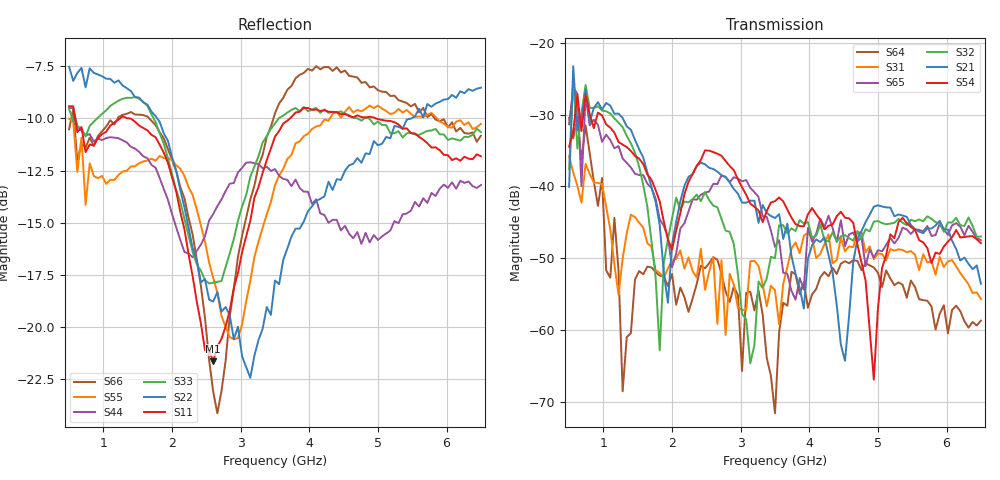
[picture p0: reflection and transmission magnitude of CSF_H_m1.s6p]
!Keysight Technologies,M9804A,MY58100912,A.14.10.03
!Date: Thursday, April 27, 2023 10:28:33
!Correction: S11(C  6-Port  )
!S12(C  6-Port  )
!S13(C  6-Port  )
!S14(C  6-Port  )
!S15(C  6-Port  )
!S16(C  6-Port  )
!S21(C  6-Port  )
!S22(C  6-Port  )
!S23(C  6-Port  )
!S24(C  6-Port  )
!S25(C  6-Port  )
!S26(C  6-Port  )
!S31(C  6-Port  )
!S32(C  6-Port  )
!S33(C  6-Port  )
!S34(C  6-Port  )
!S35(C  6-Port  )
!S36(C  6-Port  )
!S41(C  6-Port  )
!S42(C  6-Port  )
!S43(C  6-Port  )
!S44(C  6-Port  )
!S45(C  6-Port  )
!S46(C  6-Port  )
!S51(C  6-Port  )
!S52(C  6-Port  )
!S53(C  6-Port  )
!S54(C  6-Port  )
!S55(C  6-Port  )
!S56(C  6-Port  )
!S61(C  6-Port  )
!S62(C  6-Port  )
!S63(C  6-Port  )
!S64(C  6-Port  )
!S65(C  6-Port  )
!S66(C  6-Port  )
!S6P File: Measurement: :
# Hz S  RI  R 50
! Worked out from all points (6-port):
!   101 points, 500 MHz to 6.5 GHz, reference 50 ohm
!   strongest paths, dB at 500 MHz, 2 GHz, 3.5 GHz, 5 GHz, 6.5 GHz:
!     S54: -34.5, -48.8, -42.1, -57.0, -47.9
!     S21: -40.1, -48.1, -44.4, -42.6, -53.6
!     S32: -37.6, -44.4, -50.0, -44.8, -47.0
!     S65: -31.3, -51.3, -48.4, -48.9, -47.5
!     S31: -35.8, -50.4, -54.5, -49.3, -55.7
!     S64: -30.5, -52.2, -71.6, -52.0, -58.7
!   lowest |S11| = -21.6 dB at 2.6 GHz (marker M1), VSWR 1.18, Z = 42.6 + j2.03 ohm
!   |S11| at or under -10 dB: 588.1 MHz to 1.24 GHz (652.3 MHz wide, 71.3 % of centre); 1.373 GHz to 3.717 GHz (2.344 GHz wide, 92.1 % of centre); 4.974 GHz to end of sweep
